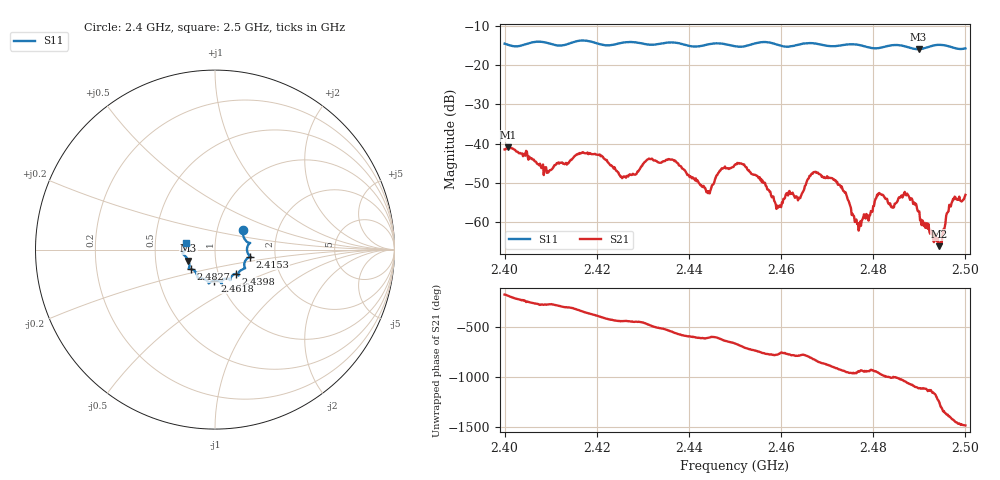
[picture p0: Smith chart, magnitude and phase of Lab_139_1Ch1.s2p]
# Hz S RI R 50
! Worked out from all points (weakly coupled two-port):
!   601 points, 2.4 GHz to 2.5 GHz, reference 50 ohm
!   highest |S21| = -40.92 dB at 2.4008 GHz (marker M1); lowest = -66.2 dB at 2.4943 GHz (marker M2)
!   lowest |S11| = -15.9 dB at 2.4898 GHz (marker M3), VSWR 1.38, Z = 36.8 - j4.62 ohm
!   |S11| at or under -10 dB: start of sweep to end of sweep
!   S12 and S22 are empty: the file has one direction only
!   S11 on the Smith chart (normalised r, x): 2.4 GHz: 1.33, +0.29; 2.4153 GHz: 1.48, -0.12; 2.4398 GHz: 1.21, -0.34; 2.4618 GHz: 0.94, -0.33; 2.4827 GHz: 0.75, -0.17; 2.5 GHz: 0.72, +0.06
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2.4e9  0.1553 0.1069  -0.00841 -0.000271  0 0  0 0
2.400833e9  0.1553 0.0942  -0.0088 0.00187  0 0  0 0
2.409e9  0.1914 0.0343  0.000901 0.00492  0 0  0 0
2.415333e9  0.1964 -0.0391  0.00548 0.00439  0 0  0 0
2.416667e9  0.2022 -0.0432  0.00725 0.00212  0 0  0 0
2.425833e9  0.1666 -0.1011  0.000543 -0.00378  0 0  0 0
2.433333e9  0.1296 -0.1342  -0.00493 -0.00297  0 0  0 0
2.439833e9  0.1151 -0.1355  -0.00224 0.00331  0 0  0 0
2.444167e9  0.0849 -0.1638  -0.000833 0.00217  0 0  0 0
2.45e9  0.0652 -0.1622  0.0031 0.0044  0 0  0 0
2.4595e9  0.0264 -0.1782  0.000991 -0.0012  0 0  0 0
2.461833e9  -0.00331 -0.1731  0.00141 -0.00205  0 0  0 0
2.466667e9  -0.0348 -0.1883  -0.000345 -0.00412  0 0  0 0
2.472667e9  -0.0778 -0.1601  -0.00269 0.00126  0 0  0 0
2.476833e9  -0.0966 -0.1539  -0.000575 0.000519  0 0  0 0
2.482667e9  -0.1349 -0.1084  0.000274 0.00194  0 0  0 0
2.483333e9  -0.1399 -0.108  0.000278 0.00168  0 0  0 0
2.487167e9  -0.1434 -0.096  0.00194 0.001  0 0  0 0
2.489833e9  -0.1482 -0.061  0.00113 -0.00074  0 0  0 0
2.494333e9  -0.1809 -0.0212  -0.000486 -6.52e-05  0 0  0 0
2.497e9  -0.1701 -0.00712  0.00159 0.000699  0 0  0 0
2.5e9  -0.1594 0.0391  0.00159 -0.00154  0 0  0 0
